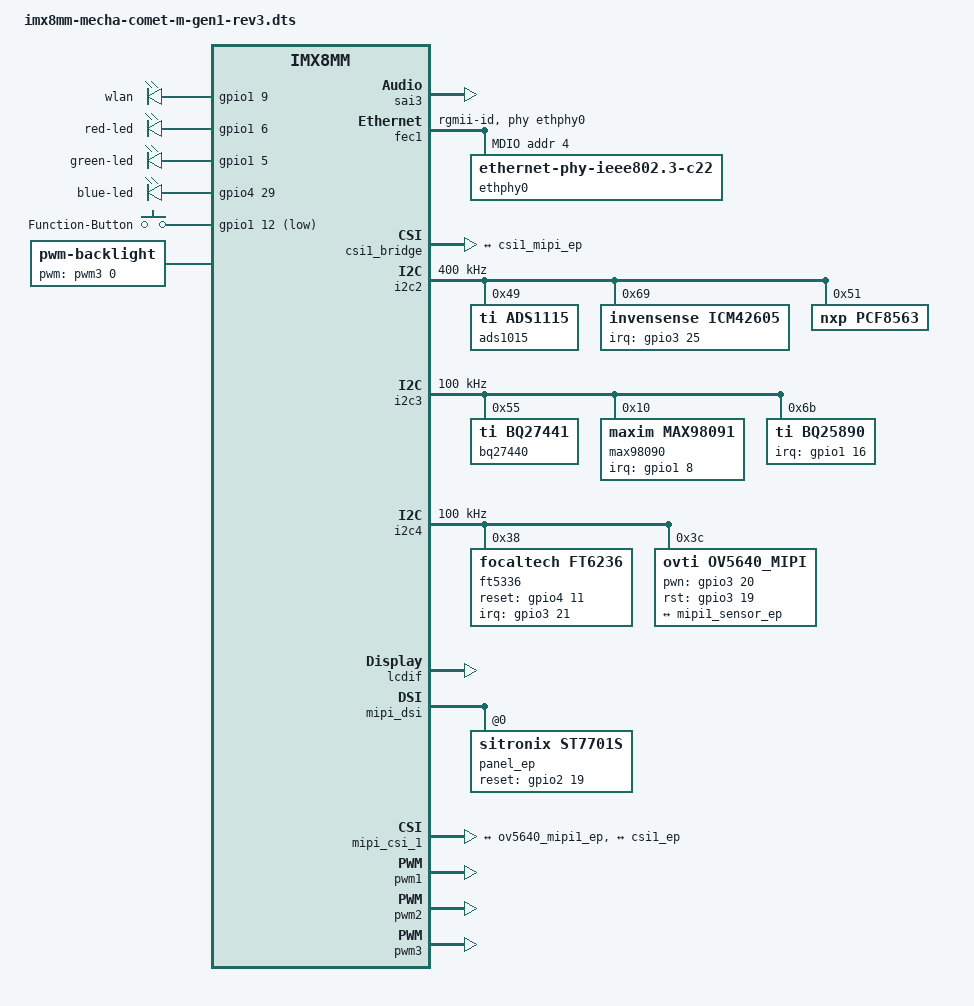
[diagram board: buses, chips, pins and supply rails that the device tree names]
// SPDX-License-Identifier: (GPL-2.0+ OR MIT)
/*
 * Copyright 2019 NXP
 */

/dts-v1/;

#include "imx8mm-mecha-som-gen1.dts"

/ {

	leds {
		led_wlan: wlan {
			label = "wlan";
			gpios = <&gpio1 9 GPIO_ACTIVE_HIGH>;
			linux,default-trigger = "rfkill0";
		};

		led_red: red_led {
			label = "red-led";
			gpios = <&gpio1 6 GPIO_ACTIVE_HIGH>;
		};

		led_green: green_led {
			label = "green-led";
			gpios = <&gpio1 5 GPIO_ACTIVE_HIGH>;
		};

		led_blue: red_blue {
			label = "blue-led";
			gpios = <&gpio4 29 GPIO_ACTIVE_HIGH>;
		};
	};
	
	gpio_init {
		compatible = "gpio-keys";
		pinctrl-names = "default";
		pinctrl-0 = <&pinctrl_gpios>;
	};
	
	function_button: Function-Button {
		compatible = "gpio-keys";
		pinctrl-names = "default";
		pinctrl-0 = <&pinctrl_function_btn_gpio>;

		btn1 {
			label = "Function-Button";
			gpios = <&gpio1 12 GPIO_ACTIVE_LOW>;
			wakeup-source;
			linux,code = <KEY_FN_1>;
		};
	};

	backlight {
		status = "okay";
		compatible = "pwm-backlight";
		pwms = <&pwm3 0 5000000>;
		brightness-levels = <0 255>;
		num-interpolated-steps = <255>;
		default-brightness-level = <250>;
	};

	sound-max98090 {
		compatible = "simple-audio-card";
		simple-audio-card,name = "max98090-audio";
		simple-audio-card,format = "i2s";
		simple-audio-card,frame-master = <&cpudai>;
		simple-audio-card,bitclock-master = <&cpudai>;
		simple-audio-card,widgets = "Speakers", "Speakers";
		simple-audio-card,routing =
					"Speakers", "SPKR",
					"Speakers", "SPKL",
					 "IN1", "MICBIAS",
                                         "MIC1","IN1",
                                         "MIC2","IN1";

		cpudai: simple-audio-card,cpu {
			sound-dai = <&sai3>;
			dai-tdm-slot-num = <2>;
			dai-tdm-slot-width = <32>;
		};

		simple-audio-card,codec {
			sound-dai = <&max98090>;
			clocks = <&clk IMX8MM_CLK_SAI3_ROOT>;
		};
	};
};

&sai3 {
	#sound-dai-cells = <0>;
	pinctrl-names = "default";
	pinctrl-0 = <&pinctrl_sai3>;
	assigned-clocks = <&clk IMX8MM_CLK_SAI3>;
	assigned-clock-parents = <&clk IMX8MM_AUDIO_PLL2_OUT>;
	assigned-clock-rates = <22579200>;
	clocks = <&clk IMX8MM_CLK_SAI3_IPG>, <&clk IMX8MM_CLK_DUMMY>,
		<&clk IMX8MM_CLK_SAI3_ROOT>, <&clk IMX8MM_CLK_DUMMY>,
		<&clk IMX8MM_CLK_DUMMY>, <&clk IMX8MM_AUDIO_PLL1_OUT>,
		<&clk IMX8MM_AUDIO_PLL2_OUT>;
	clock-names = "bus", "mclk0", "mclk1", "mclk2", "mclk3", "pll8k", "pll11k";
	//fsl,sai-asynchronous;
	status = "okay";
};

&fec1 {
       pinctrl-names = "default";
       pinctrl-0 = <&pinctrl_fec1>;
       phy-mode = "rgmii-id";
       phy-handle = <&ethphy0>;
       fsl,magic-packet;
       status = "okay";

       mdio {
               #address-cells = <1>;
               #size-cells = <0>;

               ethphy0: ethernet-phy@4 {
                       compatible = "ethernet-phy-ieee802.3-c22";
                       reg = <4>;
                       at803x,eee-disabled;
                       at803x,vddio-1p8v;
               };
       };
};


&csi1_bridge {
	fsl,mipi-mode;
	status = "okay";
	port {
		csi1_ep: endpoint {
			remote-endpoint = <&csi1_mipi_ep>;
		};
	};
};

&i2c2 {
	clock-frequency = <400000>;
	pinctrl-names = "default";
	pinctrl-0 = <&pinctrl_i2c2>;
	status = "okay";

	ads1015@49 {
		compatible = "ti,ads1115";
		reg = <0x49>;
		#address-cells = <1>;
		#size-cells = <0>;
	};

	icm42605@69 {
		compatible = "invensense,icm42605";
		pinctrl-0 = <&pinctrl_icm42605>;
		reg = <0x69>;
		interrupt-parent = <&gpio3>;
		interrupts = <25 IRQ_TYPE_EDGE_FALLING>;
		// vdd-supply = <&vdd>;
		// vddio-supply = <&vddio>;
	};

	pcf8563: pcf8563@51 {
		compatible = "nxp,pcf8563";
		reg = <0x51>;
		#clock-cells = <0>;
	};
};

&i2c3 {
	clock-frequency = <100000>;
	pinctrl-names = "default";
	pinctrl-0 = <&pinctrl_i2c3>;
	status = "okay";

	bq27440: fuel-gauge@55 {
		compatible = "ti,bq27441";
		reg = <0x55>;
		monitored-battery = <&bat>;
		bat: battery {
			compatible = "simple-battery";
			device-chemistry = "lithium-ion-polymer";

			energy-full-design-microwatt-hours = <1260000>;
			charge-full-design-microamp-hours = <3000000>;
			voltage-min-design-microvolt = <3200000>;
			voltage-max-design-microvolt = <4200000>;
//			trickle-charge-current-microamp = <1500000>;
//			precharge-current-microamp = <256000>;
//			precharge-upper-limit-microvolt = <3000000>;
//			charge-term-current-microamp = <128000>;
//			re-charge-voltage-microvolt = <3000000>;
			over-voltage-threshold-microvolt = <4500000>;
//			constant-charge-current-max-microamp = <2000000>;
//			constant-charge-voltage-max-microvolt = <4300000>;
//			factory-internal-resistance-micro-ohms = <1000>;
			
//			ambient-celsius = <(-5) 50>;
//			alert-celsius = <0 40>;
//			operating-range-celsius = <(-30) 50>;

//			ocv-capacity-celsius = <(-10) 0 10>;
			/* table for -10 degree Celsius */
//			ocv-capacity-table-0 = <4185000 100>, <4113000 95>, <4066000 90>;
			/* table for 0 degree Celsius */
//			ocv-capacity-table-1 = <4200000 100>, <4185000 95>, <4113000 90>;
			/* table for 10 degree Celsius */
//			ocv-capacity-table-2 = <4250000 100>, <4200000 95>, <4185000 90>;
//			resistance-temp-table = <20 100>, <10 90>, <0 80>, <(-10) 60>;

		};
	};

	max98090: max98090@10 {
		#sound-dai-cells = <0>;
		compatible = "maxim,max98091";
		reg = <0x10>;
		clocks = <&clk IMX8MM_CLK_SAI3_ROOT>;
		interrupt-parent = <&gpio1>;
		interrupts = <8 IRQ_TYPE_LEVEL_HIGH>;
		clock-names = "mclk";

	};


	bq25890: charger@6b {
		compatible = "ti,bq25890";
		reg = <0x6b>;

		interrupt-parent = <&gpio1>;
		interrupts = <16 IRQ_TYPE_EDGE_FALLING>;

		ti,battery-regulation-voltage = <4200000>;
		ti,charge-current = <1000000>;
		ti,termination-current = <50000>;
		ti,precharge-current = <128000>;
		ti,minimum-sys-voltage = <3600000>;
		ti,boost-voltage = <5000000>;
		ti,boost-max-current = <1000000>;

		ti,use-ilim-pin;
		ti,thermal-regulation-threshold = <120>;
	};

};

&i2c4 {
	clock-frequency = <100000>;
	pinctrl-names = "default";
	pinctrl-0 = <&pinctrl_i2c4>;
	status = "okay";

	ft5336@38 {
		compatible = "focaltech,ft6236", "ft5x06";
		reg = <0x38>;
		pinctrl-names = "default";
		pinctrl-0 = <&pinctrl_touch>;
		interrupt-parent = <&gpio3>;
		interrupts = <21 0>;
		reset-gpios = <&gpio4 11 GPIO_ACTIVE_HIGH>;
		touchscreen-size-x = <480>;
		touchscreen-size-y = <480>;
		status = "okay";
	};

	ov5640_mipi: ov5640_mipi@3c {
		compatible = "ovti,ov5640_mipi";
		reg = <0x3c>;
		status = "okay";
		pinctrl-names = "default";
		pinctrl-0 = <&pinctrl_csi_pwn>, <&pinctrl_csi_rst>;
		clocks = <&clk IMX8MM_CLK_CLKO1>;
		clock-names = "csi_mclk";
		assigned-clocks = <&clk IMX8MM_CLK_CLKO1>;
		assigned-clock-parents = <&clk IMX8MM_CLK_24M>;
		assigned-clock-rates = <24000000>;
		csi_id = <0>;
		pwn-gpios = <&gpio3 20 GPIO_ACTIVE_HIGH>;
		rst-gpios = <&gpio3 19 GPIO_ACTIVE_HIGH>;
		mclk = <24000000>;
		mclk_source = <0>;
		port {
			ov5640_mipi1_ep: endpoint {
				remote-endpoint = <&mipi1_sensor_ep>;
			};
		};
	};
};

&iomuxc {
	pinctrl_i2c2: i2c2grp {
		fsl,pins = <
			MX8MM_IOMUXC_I2C2_SCL_I2C2_SCL                          0x400001c3
			MX8MM_IOMUXC_I2C2_SDA_I2C2_SDA                          0x400001c3
			MX8MM_IOMUXC_SAI1_MCLK_GPIO4_IO20			0x19
		>;
	};

	pinctrl_i2c3: i2c3grp {
		fsl,pins = <
			MX8MM_IOMUXC_I2C3_SCL_I2C3_SCL                          0x400001c3
			MX8MM_IOMUXC_I2C3_SDA_I2C3_SDA                          0x400001c3
		>;
	};

	pinctrl_i2c4: i2c4grp {
		fsl,pins = <
			MX8MM_IOMUXC_I2C4_SCL_I2C4_SCL                          0x400001c3
			MX8MM_IOMUXC_I2C4_SDA_I2C4_SDA                          0x400001c3
		>;
	};

	pinctrl_sai3: sai3grp {
		fsl,pins = <
			MX8MM_IOMUXC_SAI3_MCLK_SAI3_MCLK	0xd6
			MX8MM_IOMUXC_SAI3_TXC_SAI3_TX_BCLK	0xd6
			MX8MM_IOMUXC_SAI3_TXFS_SAI3_TX_SYNC	0xd6
			MX8MM_IOMUXC_SAI3_RXD_SAI3_RX_DATA0	0xd6
			MX8MM_IOMUXC_SAI3_TXD_SAI3_TX_DATA0	0xd6
		>;
	};

	pinctrl_icm42605: icm_grp {
		fsl,pins = <
			MX8MM_IOMUXC_SAI5_MCLK_GPIO3_IO25	0x05
		>;
	};

	pinctrl_csi_pwn: csi_pwn_grp {
		fsl,pins = <
			MX8MM_IOMUXC_SAI5_RXC_GPIO3_IO20	0x19
		>;
	};

	pinctrl_csi_rst: csi_rst_grp {
		fsl,pins = <
			MX8MM_IOMUXC_SAI5_RXFS_GPIO3_IO19		0x19
			MX8MM_IOMUXC_GPIO1_IO14_CCMSRCGPCMIX_CLKO1      0x59
		>;
	};

	pinctrl_dsi_rst: dsi_rst_grp {
		fsl,pins = <
			MX8MM_IOMUXC_SD2_RESET_B_GPIO2_IO19		0x19
		>;
	};

	pinctrl_mkbus1_pwm: mkbus1pwm {
		fsl,pins = <
			MX8MM_IOMUXC_SPDIF_RX_PWM2_OUT			0x06
		>;
	};
	
	pinctrl_mkbus2_pwm: mkbus2pwm {
 		fsl,pins = <
			MX8MM_IOMUXC_GPIO1_IO01_PWM1_OUT		0x06
        	>;
	};

	pinctrl_pwm3: pwm3grp {
		fsl,pins = <
			MX8MM_IOMUXC_SPDIF_TX_PWM3_OUT			0x06
		>;
	};

	pinctrl_touch: touchgrp {
		fsl,pins = <
			MX8MM_IOMUXC_SAI1_TXC_GPIO4_IO11		0x19
			MX8MM_IOMUXC_SAI5_RXD0_GPIO3_IO21		0x19
		>;
	};

	pinctrl_gpios: gpiogrp {
		fsl,pins = <
			MX8MM_IOMUXC_SD2_DATA0_GPIO2_IO15		0x19
			MX8MM_IOMUXC_ECSPI2_MOSI_GPIO5_IO11		0x19
			MX8MM_IOMUXC_ECSPI2_MISO_GPIO5_IO12		0x19
			MX8MM_IOMUXC_ECSPI2_SCLK_GPIO5_IO10		0x19
			MX8MM_IOMUXC_ECSPI2_SS0_GPIO5_IO13		0x19
			MX8MM_IOMUXC_SAI2_RXC_GPIO4_IO22		0x19
			MX8MM_IOMUXC_SD2_DATA1_GPIO2_IO16		0x19
			MX8MM_IOMUXC_SAI3_RXFS_GPIO4_IO28		0x19
			MX8MM_IOMUXC_ECSPI2_SCLK_GPIO5_IO10		0x19
			MX8MM_IOMUXC_ECSPI2_MISO_GPIO5_IO12		0x19
			MX8MM_IOMUXC_ECSPI2_MOSI_GPIO5_IO11		0x19
			MX8MM_IOMUXC_SD2_CMD_GPIO2_IO14			0x19
			MX8MM_IOMUXC_SD2_CD_B_GPIO2_IO12		0x19	
			MX8MM_IOMUXC_SD2_WP_GPIO2_IO20			0x19
			MX8MM_IOMUXC_SAI2_MCLK_GPIO4_IO27		0x19
			MX8MM_IOMUXC_GPIO1_IO13_GPIO1_IO13		0x19
			MX8MM_IOMUXC_SD2_DATA2_GPIO2_IO17		0x19
			MX8MM_IOMUXC_SD2_DATA3_GPIO2_IO18		0x19
			MX8MM_IOMUXC_SD2_CLK_GPIO2_IO13			0x19
		>;
	};

	pinctrl_function_btn_gpio: gpiogrp {
		fsl,pins = <
			MX8MM_IOMUXC_GPIO1_IO12_GPIO1_IO12		0x19
		>;
	};

	pinctrl_fec1: fec1grp {
	        fsl,pins = <
	                MX8MM_IOMUXC_ENET_MDC_ENET1_MDC                 0x3
	                MX8MM_IOMUXC_ENET_MDIO_ENET1_MDIO               0x3
	                MX8MM_IOMUXC_ENET_TD3_ENET1_RGMII_TD3           0x1f
	                MX8MM_IOMUXC_ENET_TD2_ENET1_RGMII_TD2           0x1f
	                MX8MM_IOMUXC_ENET_TD1_ENET1_RGMII_TD1           0x1f
	                MX8MM_IOMUXC_ENET_TD0_ENET1_RGMII_TD0           0x1f
	                MX8MM_IOMUXC_ENET_RD3_ENET1_RGMII_RD3           0x91
	                MX8MM_IOMUXC_ENET_RD2_ENET1_RGMII_RD2           0x91
	                MX8MM_IOMUXC_ENET_RD1_ENET1_RGMII_RD1           0x91
	                MX8MM_IOMUXC_ENET_RD0_ENET1_RGMII_RD0           0x91
	                MX8MM_IOMUXC_ENET_TXC_ENET1_RGMII_TXC           0x1f
	                MX8MM_IOMUXC_ENET_RXC_ENET1_RGMII_RXC           0x91
	                MX8MM_IOMUXC_ENET_RX_CTL_ENET1_RGMII_RX_CTL     0x91
	                MX8MM_IOMUXC_ENET_TX_CTL_ENET1_RGMII_TX_CTL     0x1f
	                MX8MM_IOMUXC_GPIO1_IO07_GPIO1_IO7                       0x19
	        >;
};



};

&lcdif {
	status = "okay";
};

&mipi_dsi {
        status = "okay";
        panel_ep: panel@0 {
                compatible = "sitronix,st7701s";
                reg = <0>;
                reset-gpio = <&gpio2 19 GPIO_ACTIVE_HIGH>;
                dsi-lanes = <2>;
                video-mode = <2>;       /* 0: burst mode
                                         * 1: non-burst mode with sync event
                                         * 2: non-burst mode with sync pulse
                                         */
                panel-width-mm = <60>;
                panel-height-mm = <60>;
                status = "okay";
        };
};

&mipi_csi_1 {
	#address-cells = <1>;
	#size-cells = <0>;
	status = "okay";
	port {
		mipi1_sensor_ep: endpoint@1 {
			remote-endpoint = <&ov5640_mipi1_ep>;
			data-lanes = <2>;
			csis-hs-settle = <13>;
			csis-clk-settle = <2>;
			csis-wclk;
		};

		csi1_mipi_ep: endpoint@2 {
			remote-endpoint = <&csi1_ep>;
		};
	};
};

&pwm1 {
        pinctrl-names = "default";
        pinctrl-0 = <&pinctrl_mkbus2_pwm>;
        status = "okay";
};

&pwm2 {
        pinctrl-names = "default";
        pinctrl-0 = <&pinctrl_mkbus1_pwm>;
        status = "okay";
};

&pwm3 {
		#pwm-cells = <2>;
        pinctrl-names = "default";
        pinctrl-0 = <&pinctrl_pwm3>;
        status = "okay";
};

